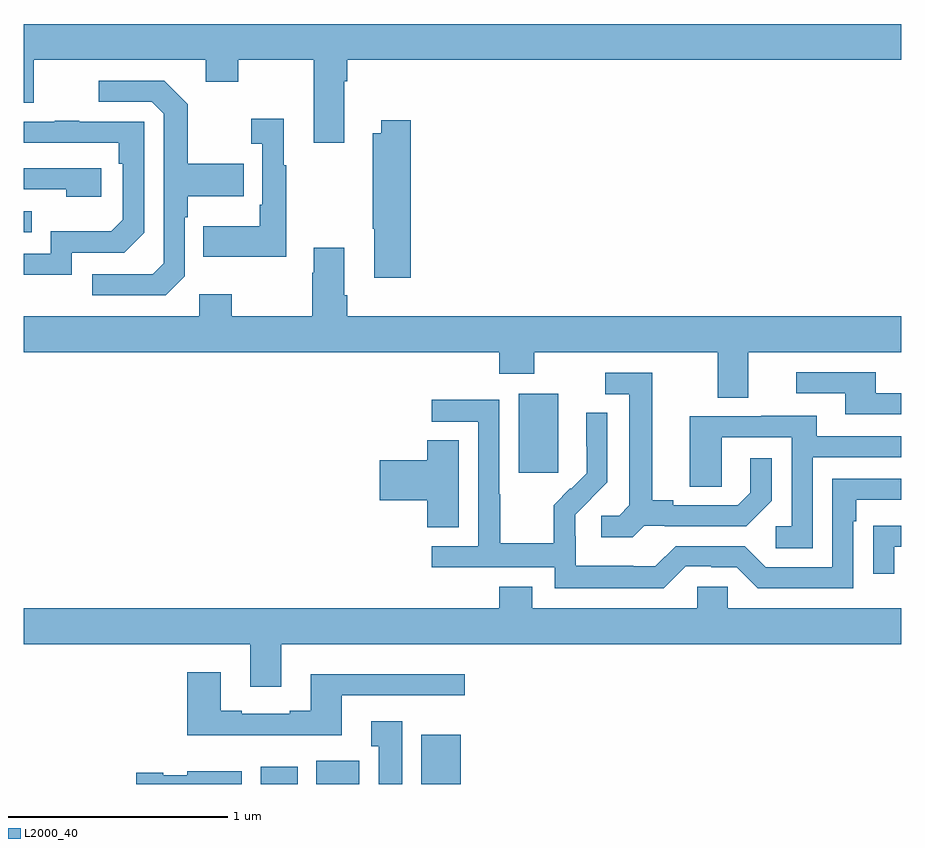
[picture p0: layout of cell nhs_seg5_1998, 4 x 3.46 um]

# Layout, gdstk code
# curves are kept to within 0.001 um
import gdstk
lib = gdstk.Library(unit=1e-6, precision=1e-09)
def R(c, l, rs):  # rectangles x0, y0, x1, y1
    for r in rs: c.add(gdstk.rectangle(r[:2], r[2:], *l))
def P(c, l, *ps):  # polygons
    for p in ps: c.add(gdstk.Polygon(p, *l))
L2000_40 = (2000, 40)

nhs_seg5_1998 = lib.new_cell('nhs_seg5_1998')
R(nhs_seg5_1998, L2000_40, [(230.081,846.799,230.248,846.877), (230.333,846.799,230.53,846.904), (230.813,846.799,230.992,847.024), (231.257,848.217,231.436,848.578), (229,849.315,229.037,849.411)])
P(nhs_seg5_1998, L2000_40, [(230.461,850.004),(230.474,850.004),(230.474,850.1),(233,850.1),(233,850.264),(229,850.264),(229,849.906),(229.045,849.906),(229.045,850.1),(229.829,850.1),(229.829,850.001),(229.977,850.001),(229.977,850.1),(230.321,850.1),(230.321,849.723),(230.461,849.723)],
  [(229.734,849.114),(229.734,849.383),(229.747,849.383),(229.747,849.479),(230.003,849.479),(230.003,849.627),(229.747,849.627),(229.747,849.899),(229.641,850.005),(229.341,850.005),(229.341,849.909),(229.584,849.909),(229.638,849.855),(229.638,849.174),(229.587,849.123),(229.311,849.123),(229.311,849.027),(229.647,849.027)],
  [(230.197,849.619),(230.185,849.619),(230.185,849.832),(230.037,849.832),(230.037,849.719),(230.088,849.719),(230.088,849.439),(230.076,849.439),(230.076,849.343),(229.819,849.343),(229.819,849.203),(230.197,849.203)],
  [(230.765,849.826),(230.63,849.826),(230.63,849.766),(230.59,849.766),(230.59,849.331),(230.597,849.331),(230.597,849.108),(230.765,849.108)],
  [(229.218,849.222),(229.458,849.222),(229.548,849.312),(229.548,849.819),(229.253,849.819),(229.253,849.824),(229.141,849.824),(229.141,849.819),(229,849.819),(229,849.723),(229.432,849.723),(229.432,849.626),(229.452,849.626),(229.452,849.372),(229.399,849.319),(229.122,849.319),(229.122,849.216),(229,849.216),(229,849.12),(229.218,849.12)],
  [(229.354,849.606),(229,849.606),(229,849.51),(229.193,849.51),(229.193,849.476),(229.354,849.476)],
  [(232.303,848.768),(233,848.768),(233,848.932),(230.474,848.932),(230.474,849.028),(230.461,849.028),(230.461,849.244),(230.321,849.244),(230.321,849.131),(230.314,849.131),(230.314,848.932),(229.947,848.932),(229.947,849.031),(229.8,849.031),(229.8,848.932),(229,848.932),(229,848.768),(231.167,848.768),(231.167,848.669),(231.327,848.669),(231.327,848.768),(232.163,848.768),(232.163,848.56),(232.303,848.56)],
  [(233,848.58),(232.885,848.58),(232.885,848.676),(232.521,848.676),(232.521,848.58),(232.745,848.58),(232.745,848.484),(233,848.484)],
  [(231.828,847.977),(231.922,847.977),(231.922,847.974),(232.294,847.974),(232.41,848.09),(232.41,848.284),(232.313,848.284),(232.313,848.127),(232.256,848.07),(231.961,848.07),(231.961,848.093),(231.865,848.093),(231.865,848.673),(231.651,848.673),(231.651,848.577),(231.761,848.577),(231.761,848.069),(231.714,848.022),(231.633,848.022),(231.633,847.925),(231.776,847.925)],
  [(232.017,847.791),(232.133,847.791),(232.133,847.788),(232.251,847.788),(232.347,847.692),(232.782,847.692),(232.782,847.997),(232.795,847.997),(232.795,848.094),(233,848.094),(233,848.19),(232.686,848.19),(232.686,847.788),(232.383,847.788),(232.287,847.884),(231.972,847.884),(231.879,847.791),(231.779,847.791),(231.779,847.795),(231.516,847.795),(231.516,847.929),(231.514,847.929),(231.514,848.026),(231.66,848.174),(231.66,848.492),(231.564,848.492),(231.564,848.338),(231.566,848.338),(231.566,848.216),(231.495,848.145),(231.492,848.148),(231.415,848.071),(231.415,847.897),(231.171,847.897),(231.171,848.12),(231.168,848.12),(231.168,848.55),(230.859,848.55),(230.859,848.451),(231.072,848.451),(231.072,847.884),(230.859,847.884),(230.859,847.788),(231.42,847.788),(231.42,847.691),(231.917,847.691)],
  [(232.596,848.289),(233,848.289),(233,848.385),(232.615,848.385),(232.615,848.479),(232.361,848.479),(232.361,848.475),(232.037,848.475),(232.037,848.155),(232.182,848.155),(232.182,848.379),(232.5,848.379),(232.5,847.974),(232.428,847.974),(232.428,847.873),(232.596,847.873)],
  [(230.983,848.366),(230.84,848.366),(230.84,848.276),(230.622,848.276),(230.622,848.093),(230.84,848.093),(230.84,847.969),(230.983,847.969)],
  [(232.969,847.881),(233,847.881),(233,847.977),(232.975,847.977),(232.975,847.976),(232.873,847.976),(232.873,847.758),(232.969,847.758)],
  [(230.173,847.436),(233,847.436),(233,847.6),(232.209,847.6),(232.209,847.698),(232.071,847.698),(232.071,847.6),(231.319,847.6),(231.319,847.699),(231.167,847.699),(231.167,847.6),(229,847.6),(229,847.436),(230.033,847.436),(230.033,847.242),(230.173,847.242)],
  [(230.449,847.203),(231.01,847.203),(231.01,847.3),(230.309,847.3),(230.309,847.132),(230.213,847.132),(230.213,847.119),(229.993,847.119),(229.993,847.132),(229.897,847.132),(229.897,847.309),(229.745,847.309),(229.745,847.022),(230.449,847.022)],
  [(230.725,847.084),(230.585,847.084),(230.585,846.971),(230.618,846.971),(230.618,846.799),(230.725,846.799)],
  [(229.993,846.856),(229.746,846.856),(229.746,846.838),(229.635,846.838),(229.635,846.851),(229.512,846.851),(229.512,846.799),(229.993,846.799)])

lib.write_gds('nhs_seg5_1998.gds')
